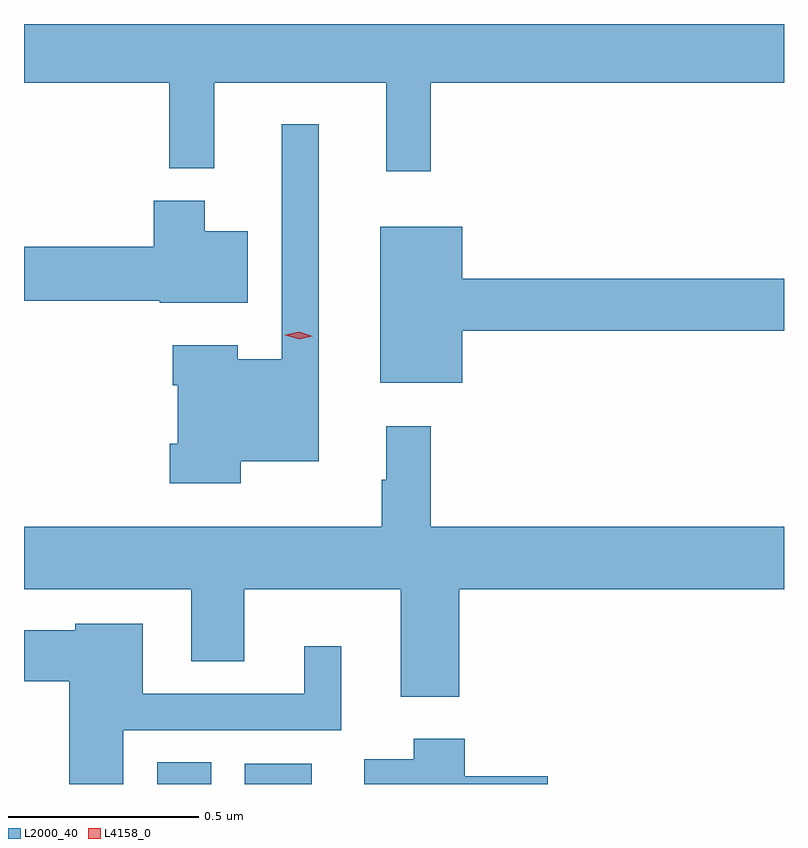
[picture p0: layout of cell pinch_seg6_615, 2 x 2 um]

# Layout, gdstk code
import gdstk
lib = gdstk.Library(unit=1e-6, precision=1e-09)
def R(c, l, rs):  # rectangles x0, y0, x1, y1
    for r in rs: c.add(gdstk.rectangle(r[:2], r[2:], *l))
def P(c, l, *ps):  # polygons
    for p in ps: c.add(gdstk.Polygon(p, *l))
L2000_40 = (2000, 40)
L4158_0 = (4158, 0)

pinch_seg6_615 = lib.new_cell('pinch_seg6_615')
R(pinch_seg6_615, L2000_40, [(398.897,958.811,399.04,958.868), (399.128,958.811,399.304,958.864)])
P(pinch_seg6_615, L2000_40, [(399.617,960.656),(400.547,960.656),(400.547,960.811),(398.547,960.811),(398.547,960.656),(398.929,960.656),(398.929,960.431),(399.047,960.431),(399.047,960.656),(399.5,960.656),(399.5,960.423),(399.617,960.423)],
  [(399.117,959.66),(399.322,959.66),(399.322,960.547),(399.225,960.547),(399.225,959.929),(399.109,959.929),(399.109,959.965),(398.939,959.965),(398.939,959.861),(398.951,959.861),(398.951,959.707),(398.93,959.707),(398.93,959.603),(399.117,959.603)],
  [(399.136,960.265),(399.022,960.265),(399.022,960.346),(398.888,960.346),(398.888,960.225),(398.547,960.225),(398.547,960.083),(398.904,960.083),(398.904,960.077),(399.136,960.077)],
  [(399.7,960.004),(400.547,960.004),(400.547,960.14),(399.7,960.14),(399.7,960.277),(399.485,960.277),(399.485,959.867),(399.7,959.867)],
  [(399.692,959.324),(400.547,959.324),(400.547,959.488),(399.617,959.488),(399.617,959.752),(399.5,959.752),(399.5,959.612),(399.489,959.612),(399.489,959.488),(398.547,959.488),(398.547,959.324),(398.987,959.324),(398.987,959.134),(399.127,959.134),(399.127,959.324),(399.539,959.324),(399.539,959.04),(399.692,959.04)],
  [(398.808,958.953),(399.382,958.953),(399.382,959.173),(399.284,959.173),(399.284,959.049),(398.86,959.049),(398.86,959.233),(398.682,959.233),(398.682,959.215),(398.547,959.215),(398.547,959.081),(398.666,959.081),(398.666,958.811),(398.808,958.811)],
  [(399.925,958.832),(399.707,958.832),(399.707,958.93),(399.572,958.93),(399.572,958.876),(399.443,958.876),(399.443,958.811),(399.925,958.811)])
P(pinch_seg6_615, L4158_0, [(399.271,959.981),(399.235,959.992),(399.235,959.992),(399.235,959.993),(399.271,960.001),(399.307,959.989),(399.307,959.989),(399.307,959.989)])

lib.write_gds('pinch_seg6_615.gds')
